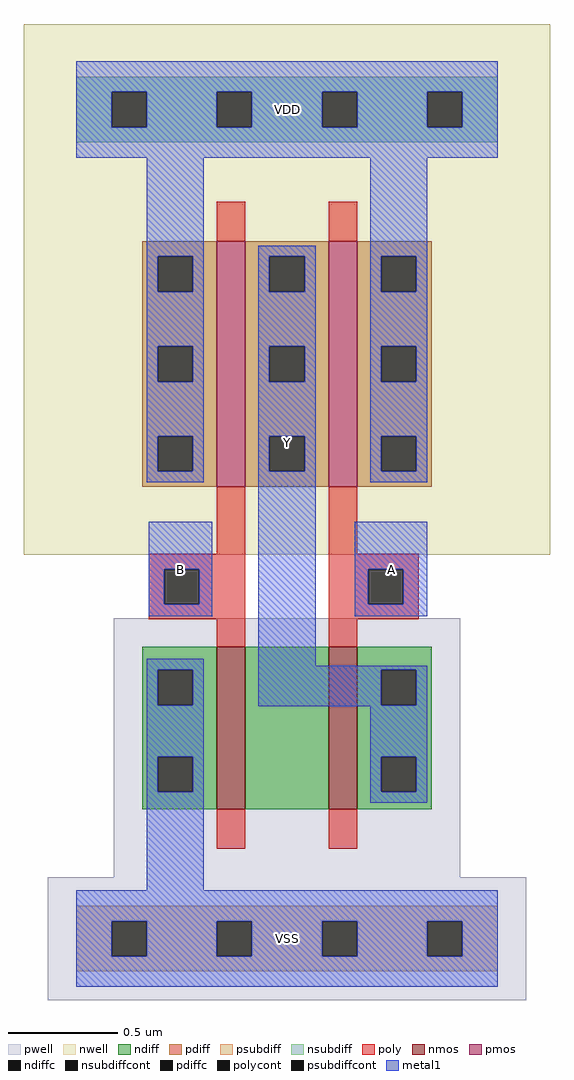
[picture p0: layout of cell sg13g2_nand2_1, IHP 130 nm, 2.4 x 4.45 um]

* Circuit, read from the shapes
.subckt sg13g2_nand2_1 Y VDD A VSS B
XM1 n1 B VSS VSS sg13_lv_nmos w=0.74u l=0.13u
XM2 Y A n1 VSS sg13_lv_nmos w=0.74u l=0.13u
XM3 Y B VDD VDD sg13_lv_pmos w=1.12u l=0.13u
XM4 VDD A Y VDD sg13_lv_pmos w=1.12u l=0.13u
.ends

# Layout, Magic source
magic
tech ihp-sg13g2
magscale 1 2
<< nwell >>
rect -48 350 432 834
<< pwell >>
rect 34 56 350 292
rect -26 -56 410 56
<< nmos >>
rect 128 118 154 266
rect 230 118 256 266
<< pmos >>
rect 128 412 154 636
rect 230 412 256 636
<< ndiff >>
rect 60 245 128 266
rect 60 213 74 245
rect 106 213 128 245
rect 60 166 128 213
rect 60 134 74 166
rect 106 134 128 166
rect 60 118 128 134
rect 154 118 230 266
rect 256 245 324 266
rect 256 213 278 245
rect 310 213 324 245
rect 256 166 324 213
rect 256 134 278 166
rect 310 134 324 166
rect 256 118 324 134
<< pdiff >>
rect 60 622 128 636
rect 60 590 74 622
rect 106 590 128 622
rect 60 540 128 590
rect 60 508 74 540
rect 106 508 128 540
rect 60 458 128 508
rect 60 426 74 458
rect 106 426 128 458
rect 60 412 128 426
rect 154 622 230 636
rect 154 590 176 622
rect 208 590 230 622
rect 154 540 230 590
rect 154 508 176 540
rect 208 508 230 540
rect 154 458 230 508
rect 154 426 176 458
rect 208 426 230 458
rect 154 412 230 426
rect 256 622 324 636
rect 256 590 278 622
rect 310 590 324 622
rect 256 540 324 590
rect 256 508 278 540
rect 310 508 324 540
rect 256 458 324 508
rect 256 426 278 458
rect 310 426 324 458
rect 256 412 324 426
<< ndiffc >>
rect 74 213 106 245
rect 74 134 106 166
rect 278 213 310 245
rect 278 134 310 166
<< pdiffc >>
rect 74 590 106 622
rect 74 508 106 540
rect 74 426 106 458
rect 176 590 208 622
rect 176 508 208 540
rect 176 426 208 458
rect 278 590 310 622
rect 278 508 310 540
rect 278 426 310 458
<< psubdiff >>
rect 0 16 384 30
rect 0 -16 32 16
rect 64 -16 128 16
rect 160 -16 224 16
rect 256 -16 320 16
rect 352 -16 384 16
rect 0 -30 384 -16
<< nsubdiff >>
rect 0 772 384 786
rect 0 740 32 772
rect 64 740 128 772
rect 160 740 224 772
rect 256 740 320 772
rect 352 740 384 772
rect 0 726 384 740
<< psubdiffcont >>
rect 32 -16 64 16
rect 128 -16 160 16
rect 224 -16 256 16
rect 320 -16 352 16
<< nsubdiffcont >>
rect 32 740 64 772
rect 128 740 160 772
rect 224 740 256 772
rect 320 740 352 772
<< poly >>
rect 128 636 154 672
rect 230 636 256 672
rect 128 351 154 412
rect 66 337 154 351
rect 66 305 80 337
rect 112 305 154 337
rect 66 291 154 305
rect 128 266 154 291
rect 230 351 256 412
rect 230 337 312 351
rect 230 305 266 337
rect 298 305 312 337
rect 230 291 312 305
rect 230 266 256 291
rect 128 82 154 118
rect 230 82 256 118
<< polycont >>
rect 80 305 112 337
rect 266 305 298 337
<< metal1 >>
rect 0 772 384 800
rect 0 740 32 772
rect 64 740 128 772
rect 160 740 224 772
rect 256 740 320 772
rect 352 740 384 772
rect 0 712 384 740
rect 64 622 116 712
rect 64 590 74 622
rect 106 590 116 622
rect 64 540 116 590
rect 64 508 74 540
rect 106 508 116 540
rect 64 458 116 508
rect 64 426 74 458
rect 106 426 116 458
rect 64 416 116 426
rect 166 622 218 632
rect 166 590 176 622
rect 208 590 218 622
rect 166 540 218 590
rect 166 508 176 540
rect 208 508 218 540
rect 166 458 218 508
rect 166 426 176 458
rect 208 426 218 458
rect 66 337 124 380
rect 66 305 80 337
rect 112 305 124 337
rect 66 294 124 305
rect 64 245 116 255
rect 64 213 74 245
rect 106 213 116 245
rect 64 166 116 213
rect 166 249 218 426
rect 268 622 320 712
rect 268 590 278 622
rect 310 590 320 622
rect 268 540 320 590
rect 268 508 278 540
rect 310 508 320 540
rect 268 458 320 508
rect 268 426 278 458
rect 310 426 320 458
rect 268 416 320 426
rect 254 337 320 380
rect 254 305 266 337
rect 298 305 320 337
rect 254 294 320 305
rect 166 245 320 249
rect 166 213 278 245
rect 310 213 320 245
rect 166 212 320 213
rect 64 134 74 166
rect 106 134 116 166
rect 64 44 116 134
rect 268 166 320 212
rect 268 134 278 166
rect 310 134 320 166
rect 268 124 320 134
rect 0 16 384 44
rect 0 -16 32 16
rect 64 -16 128 16
rect 160 -16 224 16
rect 256 -16 320 16
rect 352 -16 384 16
rect 0 -44 384 -16
<< labels >>
flabel metal1 s 166 273 218 632 0 FreeSans 400 0 0 0 Y
port 2 nsew
flabel metal1 s 0 712 384 800 0 FreeSans 400 0 0 0 VDD
port 3 nsew
flabel metal1 s 254 294 320 380 0 FreeSans 400 0 0 0 A
port 4 nsew
flabel metal1 s 0 -44 384 44 0 FreeSans 400 0 0 0 VSS
port 5 nsew
flabel metal1 s 66 294 124 380 0 FreeSans 400 0 0 0 B
port 6 nsew
<< properties >>
string FIXED_BBOX 0 0 384 756
string GDS_END 173970
string GDS_FILE 6_final.gds
string GDS_START 170172
<< end >>
